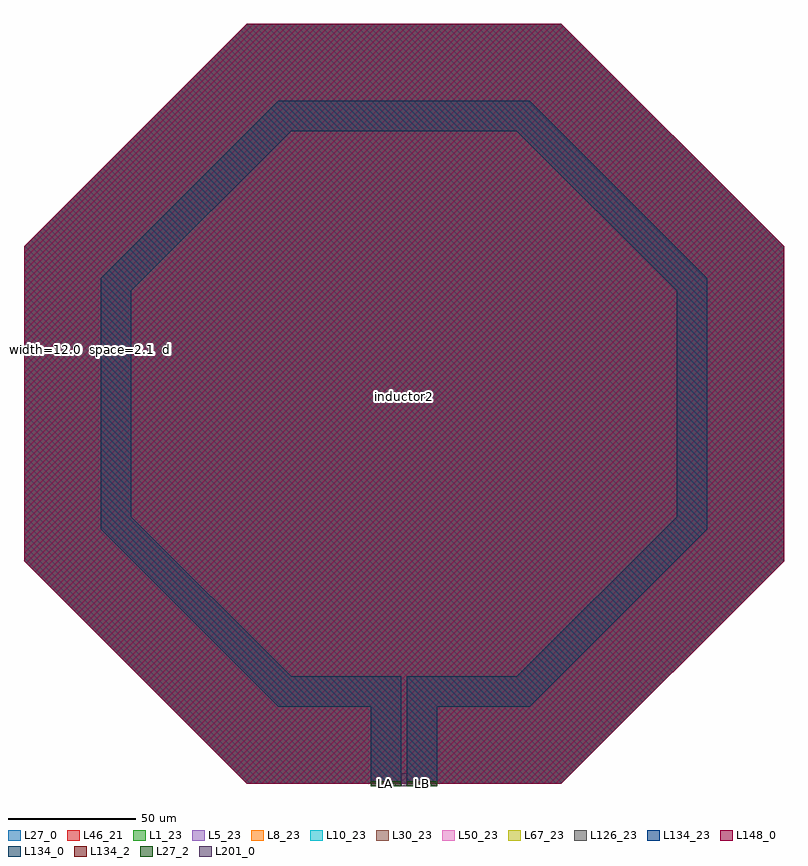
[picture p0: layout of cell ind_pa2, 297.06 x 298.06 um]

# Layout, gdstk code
import gdstk
lib = gdstk.Library(unit=1e-6, precision=1e-09)
def R(c, l, rs):  # rectangles x0, y0, x1, y1
    for r in rs: c.add(gdstk.rectangle(r[:2], r[2:], *l))
def P(c, l, *ps):  # polygons
    for p in ps: c.add(gdstk.Polygon(p, *l))
L1_23 = (1, 23)
L5_23 = (5, 23)
L8_23 = (8, 23)
L10_23 = (10, 23)
L27_0 = (27, 0)
L27_2 = (27, 2)
L30_23 = (30, 23)
L46_21 = (46, 21)
L50_23 = (50, 23)
L67_23 = (67, 23)
L126_23 = (126, 23)
L134_0 = (134, 0)
L134_2 = (134, 2)
L134_23 = (134, 23)
L148_0 = (148, 0)
L201_0 = (201, 0)

ind_pa2 = lib.new_cell('ind_pa2')
P(ind_pa2, L1_23, [(-61.52,0),(-148.53,87.01),(-148.53,210.05),(-61.52,297.06),(61.52,297.06),(148.53,210.05),(148.53,87.01),(61.52,0)])
P(ind_pa2, L5_23, [(-61.52,0),(-148.53,87.01),(-148.53,210.05),(-61.52,297.06),(61.52,297.06),(148.53,210.05),(148.53,87.01),(61.52,0)])
P(ind_pa2, L8_23, [(-61.52,0),(-148.53,87.01),(-148.53,210.05),(-61.52,297.06),(61.52,297.06),(148.53,210.05),(148.53,87.01),(61.52,0)])
P(ind_pa2, L10_23, [(-61.52,0),(-148.53,87.01),(-148.53,210.05),(-61.52,297.06),(61.52,297.06),(148.53,210.05),(148.53,87.01),(61.52,0)])
P(ind_pa2, L27_0, [(-61.52,0),(-148.53,87.01),(-148.53,210.05),(-61.52,297.06),(61.52,297.06),(148.53,210.05),(148.53,87.01),(61.52,0)])
R(ind_pa2, L27_2, [(-13.05,-1,-1.05,1), (1.05,-1,13.05,1)])
P(ind_pa2, L30_23, [(-61.52,0),(-148.53,87.01),(-148.53,210.05),(-61.52,297.06),(61.52,297.06),(148.53,210.05),(148.53,87.01),(61.52,0)])
P(ind_pa2, L46_21, [(-61.52,0),(-148.53,87.01),(-148.53,210.05),(-61.52,297.06),(61.52,297.06),(148.53,210.05),(148.53,87.01),(61.52,0)])
P(ind_pa2, L50_23, [(-61.52,0),(-148.53,87.01),(-148.53,210.05),(-61.52,297.06),(61.52,297.06),(148.53,210.05),(148.53,87.01),(61.52,0)])
P(ind_pa2, L67_23, [(-61.52,0),(-148.53,87.01),(-148.53,210.05),(-61.52,297.06),(61.52,297.06),(148.53,210.05),(148.53,87.01),(61.52,0)])
P(ind_pa2, L126_23, [(-61.52,0),(-148.53,87.01),(-148.53,210.05),(-61.52,297.06),(61.52,297.06),(148.53,210.05),(148.53,87.01),(61.52,0)])
R(ind_pa2, L134_0, [(-10.425,255.04,10.425,267.04)])
P(ind_pa2, L134_0, [(1.05,30),(1.05,42),(44.12,42),(106.52,104.4),(106.52,192.64),(44.12,255.04),(10.425,255.04),(10.425,267.04),(49.1,267.04),(118.52,197.62),(118.52,99.42),(49.1,30)],
  [(-49.1,30),(-118.52,99.42),(-118.52,197.62),(-49.1,267.04),(-10.425,267.04),(-10.425,255.04),(-44.12,255.04),(-106.52,192.64),(-106.52,104.4),(-44.12,42),(-1.05,42),(-1.05,30)])
R(ind_pa2, L134_2, [(-13.05,-1,-1.05,1), (-13.05,-1,-1.05,1), (1.05,-1,13.05,1), (1.05,-1,13.05,1)])
P(ind_pa2, L134_23, [(-61.52,0),(-148.53,87.01),(-148.53,210.05),(-61.52,297.06),(61.52,297.06),(148.53,210.05),(148.53,87.01),(61.52,0)])
P(ind_pa2, L148_0, [(-61.52,0),(-148.53,87.01),(-148.53,210.05),(-61.52,297.06),(61.52,297.06),(148.53,210.05),(148.53,87.01),(61.52,0)])
R(ind_pa2, L201_0, [(-1.05,-1,1.05,4)])
ind_pa2.add(gdstk.FlexPath([(7.05,-1),(7.05,42)], 12, ends="flush", simple_path=True, layer=134, datatype=0))  # L134_0
ind_pa2.add(gdstk.FlexPath([(-7.05,-1),(-7.05,42)], 12, ends="flush", simple_path=True, layer=134, datatype=0))  # L134_0
ind_pa2.add(gdstk.Label('LB', (7.05,0), layer=27, texttype=25))
ind_pa2.add(gdstk.Label('LA', (-7.05,0), layer=27, texttype=25))
ind_pa2.add(gdstk.Label('inductor2', (0,151.163), layer=63, texttype=0))
ind_pa2.add(gdstk.Label('  width=12.0\n  space=2.1\n  diameter=213.04\n  turns=1', (-148.53,169.54), layer=63, texttype=0))

lib.write_gds('ind_pa2.gds')
